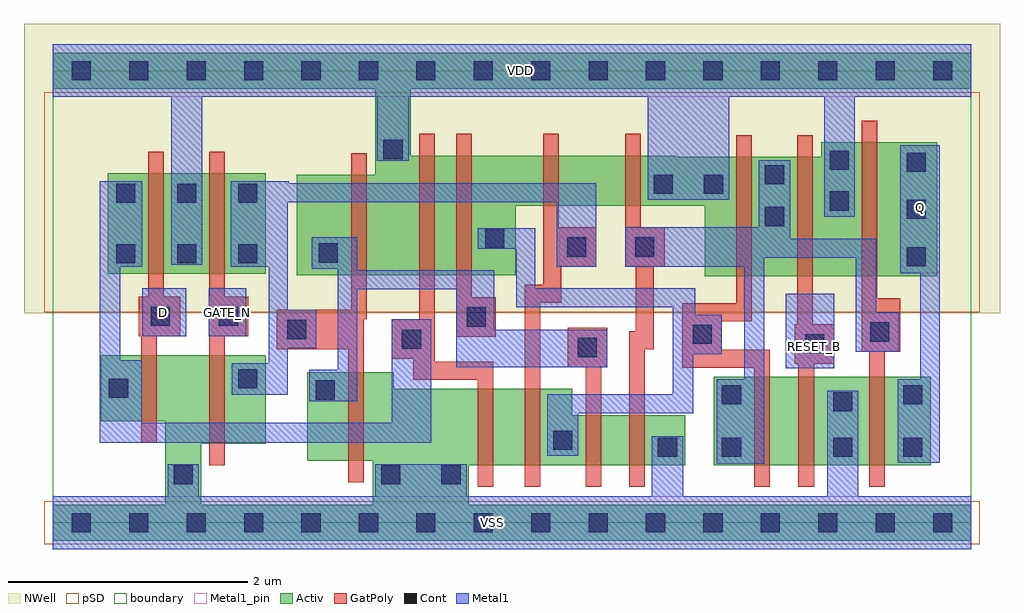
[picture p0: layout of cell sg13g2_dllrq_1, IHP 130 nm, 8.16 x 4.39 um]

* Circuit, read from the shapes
.subckt sg13g2_dllrq_1 D GATE_N Q RESET_B VDD VSS
XM1 VSS D n1 VSS sg13_lv_nmos w=0.55u l=0.13u
XM2 n2 GATE_N VSS VSS sg13_lv_nmos w=0.74u l=0.13u
XM3 VSS n2 n3 VSS sg13_lv_nmos w=0.74u l=0.13u
XM4 n4 n1 VSS VSS sg13_lv_nmos w=0.64u l=0.13u
XM5 n5 n2 n4 VSS sg13_lv_nmos w=0.64u l=0.13u
XM6 n6 n3 n5 VSS sg13_lv_nmos w=0.42u l=0.13u
XM7 VSS n7 n6 VSS sg13_lv_nmos w=0.42u l=0.13u
XM8 n8 n5 n7 VSS sg13_lv_nmos w=0.74u l=0.13u
XM9 VSS RESET_B n8 VSS sg13_lv_nmos w=0.74u l=0.13u
XM10 Q n7 VSS VSS sg13_lv_nmos w=0.74u l=0.13u
XM11 VDD D n1 VDD sg13_lv_pmos w=0.84u l=0.13u
XM12 n2 GATE_N VDD VDD sg13_lv_pmos w=0.84u l=0.13u
XM13 VDD n2 n3 VDD sg13_lv_pmos w=0.84u l=0.13u
XM14 n9 n1 VDD VDD sg13_lv_pmos w=1u l=0.13u
XM15 n5 n3 n9 VDD sg13_lv_pmos w=1u l=0.13u
XM16 n10 n2 n5 VDD sg13_lv_pmos w=0.42u l=0.13u
XM17 VDD n7 n10 VDD sg13_lv_pmos w=0.42u l=0.13u
XM18 n7 n5 VDD VDD sg13_lv_pmos w=1u l=0.13u
XM19 VDD RESET_B n7 VDD sg13_lv_pmos w=1u l=0.13u
XM20 Q n7 VDD VDD sg13_lv_pmos w=1.12u l=0.13u
.ends

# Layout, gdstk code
import gdstk
lib = gdstk.Library(unit=1e-6, precision=1e-09)
def R(c, l, rs):  # rectangles x0, y0, x1, y1
    for r in rs: c.add(gdstk.rectangle(r[:2], r[2:], *l))
def A(c, l, x, y, w, h, nx, ny, dx, dy):  # array of equal rectangles
    R(c, l, [(x+i*dx, y+j*dy, x+i*dx+w, y+j*dy+h) for i in range(nx) for j in range(ny)])
def P(c, l, *ps):  # polygons
    for p in ps: c.add(gdstk.Polygon(p, *l))
Activ = (1, 0)
GatPoly = (5, 0)
Cont = (6, 0)
Metal1 = (8, 0)
Metal1_pin = (8, 2)
pSD = (14, 0)
NWell = (31, 0)
boundary = (189, 4)

sg13g2_dllrq_1 = lib.new_cell('sg13g2_dllrq_1')
R(sg13g2_dllrq_1, Activ, [(5.525,0.48,7.34,1.22), (0.46,2.08,1.78,2.92)])
P(sg13g2_dllrq_1, Activ, [(0,-0.15),(0,0.15),(0.94,0.15),(0.94,0.85),(0.4,0.85),(0.4,1.4),(1.78,1.4),(1.78,0.66),(1.24,0.66),(1.24,0.15),(2.675,0.15),(2.675,0.52),(2.13,0.52),(2.13,1.26),(2.85,1.26),(2.85,1.12),(4.345,1.12),(4.345,0.9),(5.29,0.9),(5.29,0.48),(3.48,0.48),(3.48,0.15),(7.68,0.15),(7.68,-0.15)],
  [(5.45,2.06),(5.45,2.65),(3.87,2.65),(3.87,2.07),(2.04,2.07),(2.04,2.91),(2.695,2.91),(2.695,3.63),(0,3.63),(0,3.93),(7.68,3.93),(7.68,3.63),(2.995,3.63),(2.995,3.07),(5.215,3.07),(5.215,3.06),(6.425,3.06),(6.425,3.18),(7.395,3.18),(7.395,2.06)])
P(sg13g2_dllrq_1, GatPoly, [(0.74,0.67),(0.74,1.56),(0.72,1.56),(0.72,1.89),(0.8,1.89),(0.8,3.1),(0.93,3.1),(0.93,1.89),(1.065,1.89),(1.065,1.56),(0.87,1.56),(0.87,0.67)],
  [(1.31,0.48),(1.31,1.56),(1.305,1.56),(1.305,1.89),(1.31,1.89),(1.31,3.1),(1.44,3.1),(1.44,1.89),(1.635,1.89),(1.635,1.56),(1.44,1.56),(1.44,0.48)],
  [(2.47,0.34),(2.47,1.45),(1.875,1.45),(1.875,1.78),(2.495,1.78),(2.495,3.09),(2.625,3.09),(2.625,1.7),(2.6,1.7),(2.6,0.34)],
  [(3.375,1.555),(3.375,3.25),(3.505,3.25),(3.505,1.885),(3.705,1.885),(3.705,1.555)],
  [(3.555,0.3),(3.555,1.195),(3.015,1.195),(3.015,1.37),(2.835,1.37),(2.835,1.7),(3.065,1.7),(3.065,3.25),(3.195,3.25),(3.195,1.345),(3.685,1.345),(3.685,0.3)],
  [(3.945,0.3),(3.945,1.99),(4.1,1.99),(4.1,3.25),(4.23,3.25),(4.23,2.47),(4.545,2.47),(4.545,2.14),(4.25,2.14),(4.25,1.84),(4.075,1.84),(4.075,0.3)],
  [(4.455,0.3),(4.455,1.3),(4.305,1.3),(4.305,1.63),(4.635,1.63),(4.635,1.3),(4.585,1.3),(4.585,0.3)],
  [(4.82,0.3),(4.82,1.6),(4.875,1.6),(4.875,2.14),(4.785,2.14),(4.785,3.25),(4.915,3.25),(4.915,2.47),(5.115,2.47),(5.115,2.14),(5.025,2.14),(5.025,1.45),(4.95,1.45),(4.95,0.3)],
  [(5.865,0.3),(5.865,1.295),(5.265,1.295),(5.265,1.835),(5.715,1.835),(5.715,3.24),(5.845,3.24),(5.845,1.685),(5.595,1.685),(5.595,1.445),(5.995,1.445),(5.995,0.3)],
  [(6.235,0.3),(6.235,1.33),(6.205,1.33),(6.205,1.66),(6.225,1.66),(6.225,3.24),(6.355,3.24),(6.355,1.66),(6.535,1.66),(6.535,1.33),(6.365,1.33),(6.365,0.3)],
  [(6.825,0.3),(6.825,1.43),(6.765,1.43),(6.765,3.36),(6.895,3.36),(6.895,1.875),(7.085,1.875),(7.085,1.43),(6.955,1.43),(6.955,0.3)])
A(sg13g2_dllrq_1, Cont, 0.16, -0.08, 0.16, 0.16, 16, 2, 0.48, 3.78)
A(sg13g2_dllrq_1, Cont, 7.14, 2.145, 0.16, 0.16, 1, 3, 0, 0.395)
A(sg13g2_dllrq_1, Cont, 0.53, 2.17, 0.16, 0.16, 3, 2, 0.51, 0.505)
R(sg13g2_dllrq_1, Cont, [(1.01,0.32,1.17,0.48), (2.745,0.32,2.905,0.48), (3.25,0.32,3.41,0.48), (5.06,0.55,5.22,0.71), (5.595,0.55,5.755,0.71), (6.525,0.55,6.685,0.71), (7.11,0.55,7.27,0.71), (4.185,0.61,4.345,0.77), (6.525,0.93,6.685,1.09), (5.595,0.99,5.755,1.15), (7.11,0.99,7.27,1.15), (2.2,1.03,2.36,1.19), (0.47,1.045,0.63,1.205), (1.55,1.125,1.71,1.285), (4.39,1.385,4.55,1.545), (6.29,1.415,6.45,1.575), (2.92,1.455,3.08,1.615), (5.35,1.495,5.51,1.655), (6.835,1.515,6.995,1.675), (1.96,1.535,2.12,1.695), (3.46,1.64,3.62,1.8), (0.82,1.645,0.98,1.805), (1.39,1.645,1.55,1.805), (2.225,2.175,2.385,2.335), (4.3,2.225,4.46,2.385), (4.87,2.225,5.03,2.385), (3.615,2.295,3.775,2.455), (5.955,2.48,6.115,2.64), (6.495,2.61,6.655,2.77), (5.025,2.75,5.185,2.91), (5.445,2.75,5.605,2.91), (5.955,2.83,6.115,2.99), (6.495,2.95,6.655,3.11), (2.765,3.04,2.925,3.2)])
R(sg13g2_dllrq_1, Metal1, [(6.13,1.29,6.535,1.915), (0.75,1.56,1.115,1.96), (1.305,1.56,1.62,1.96)])
P(sg13g2_dllrq_1, Metal1, [(0.395,0.67),(0.395,2.855),(0.75,2.855),(0.75,2.14),(0.565,2.14),(0.565,1.36),(0.745,1.36),(0.745,0.835),(2.835,0.835),(2.835,1.7),(3.165,1.7),(3.165,0.67)],
  [(1.495,1.07),(1.495,1.335),(1.805,1.335),(1.805,2.14),(1.49,2.14),(1.49,2.855),(1.975,2.855),(1.975,2.84),(4.545,2.84),(4.545,2.14),(4.215,2.14),(4.215,2.68),(1.965,2.68),(1.965,1.78),(2.205,1.78),(2.205,1.46),(1.965,1.46),(1.965,1.07)],
  [(7.065,0.5),(7.065,1.2),(7.255,1.2),(7.255,2.085),(7.085,2.085),(7.085,3.155),(7.415,3.155),(7.415,0.5)],
  [(4.135,0.56),(4.135,1.075),(5.185,1.075),(5.185,1.8),(3.875,1.8),(3.875,2.29),(3.555,2.29),(3.555,2.46),(4.035,2.46),(4.035,1.96),(5.37,1.96),(5.37,1.74),(5.595,1.74),(5.595,1.41),(5.355,1.41),(5.355,0.915),(4.395,0.915),(4.395,0.56)],
  [(2.145,1.015),(2.145,1.28),(2.385,1.28),(2.385,2.125),(2.165,2.125),(2.165,2.385),(2.545,2.385),(2.545,2.11),(3.69,2.11),(3.69,1.615),(4.635,1.615),(4.635,1.3),(3.375,1.3),(3.375,1.95),(2.545,1.95),(2.545,1.015)],
  [(0.99,2.155),(0.99,3.56),(0,3.56),(0,4),(7.68,4),(7.68,3.56),(6.705,3.56),(6.705,2.56),(6.45,2.56),(6.45,3.56),(5.655,3.56),(5.655,2.7),(4.975,2.7),(4.975,3.56),(2.975,3.56),(2.975,3.025),(2.715,3.025),(2.715,3.56),(1.25,3.56),(1.25,2.155)],
  [(5.55,0.495),(5.55,1.2),(5.78,1.2),(5.78,2.14),(4.785,2.14),(4.785,2.47),(5.905,2.47),(5.905,3.03),(6.165,3.03),(6.165,2.375),(6.885,2.375),(6.885,1.76),(7.075,1.76),(7.075,1.43),(6.715,1.43),(6.715,2.215),(5.95,2.215),(5.95,0.495)],
  [(0,-0.22),(0,0.22),(0.96,0.22),(0.96,0.49),(1.22,0.49),(1.22,0.22),(2.695,0.22),(2.695,0.49),(3.46,0.49),(3.46,0.22),(5.01,0.22),(5.01,0.725),(5.27,0.725),(5.27,0.22),(6.475,0.22),(6.475,1.105),(6.735,1.105),(6.735,0.22),(7.68,0.22),(7.68,-0.22)])
R(sg13g2_dllrq_1, Metal1_pin, [(0,-0.22,7.68,0.22), (6.13,1.29,6.535,1.915), (0.75,1.56,1.115,1.96), (1.305,1.56,1.62,1.96), (7.085,2.085,7.415,3.155), (0,3.56,7.68,4)])
R(sg13g2_dllrq_1, pSD, [(-0.07,-0.18,7.75,0.18), (-0.07,1.76,7.75,3.6)])
R(sg13g2_dllrq_1, NWell, [(-0.24,1.75,7.92,4.17)])
R(sg13g2_dllrq_1, boundary, [(0,0,7.68,3.78)])
sg13g2_dllrq_1.add(gdstk.Label('GATE_N', (1.46,1.76), layer=8, texttype=25))
sg13g2_dllrq_1.add(gdstk.Label('VSS', (3.675,0), layer=8, texttype=25))
sg13g2_dllrq_1.add(gdstk.Label('VDD', (3.91,3.78), layer=8, texttype=25))
sg13g2_dllrq_1.add(gdstk.Label('Q', (7.255,2.635), layer=8, texttype=25))
sg13g2_dllrq_1.add(gdstk.Label('RESET_B', (6.37,1.475), layer=8, texttype=25))
sg13g2_dllrq_1.add(gdstk.Label('D', (0.93,1.76), layer=8, texttype=25))

lib.write_gds('sg13g2_dllrq_1.gds')
